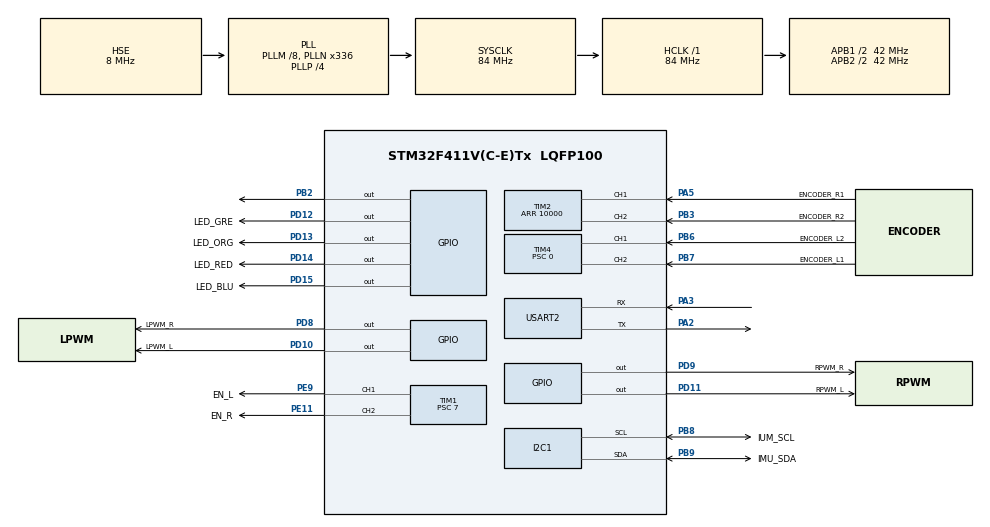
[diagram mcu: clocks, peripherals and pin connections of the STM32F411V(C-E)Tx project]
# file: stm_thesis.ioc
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Dma.I2C1_RX.1.Direction=DMA_PERIPH_TO_MEMORY
Dma.I2C1_RX.1.FIFOMode=DMA_FIFOMODE_DISABLE
Dma.I2C1_RX.1.Instance=DMA1_Stream0
Dma.I2C1_RX.1.MemDataAlignment=DMA_MDATAALIGN_BYTE
Dma.I2C1_RX.1.MemInc=DMA_MINC_ENABLE
Dma.I2C1_RX.1.Mode=DMA_CIRCULAR
Dma.I2C1_RX.1.PeriphDataAlignment=DMA_PDATAALIGN_BYTE
Dma.I2C1_RX.1.PeriphInc=DMA_PINC_DISABLE
Dma.I2C1_RX.1.Priority=DMA_PRIORITY_HIGH
Dma.Request0=USART2_RX
Dma.Request1=I2C1_RX
Dma.USART2_RX.0.Direction=DMA_PERIPH_TO_MEMORY
Dma.USART2_RX.0.FIFOMode=DMA_FIFOMODE_DISABLE
Dma.USART2_RX.0.Instance=DMA1_Stream5
Dma.USART2_RX.0.MemDataAlignment=DMA_MDATAALIGN_BYTE
Dma.USART2_RX.0.MemInc=DMA_MINC_ENABLE
Dma.USART2_RX.0.Mode=DMA_CIRCULAR
Dma.USART2_RX.0.PeriphDataAlignment=DMA_PDATAALIGN_BYTE
Dma.USART2_RX.0.PeriphInc=DMA_PINC_DISABLE
Dma.USART2_RX.0.Priority=DMA_PRIORITY_LOW
I2C1.I2C_Mode=I2C_Fast
Mcu.Family=STM32F4
Mcu.Name=STM32F411V(C-E)Tx
Mcu.Package=LQFP100
NVIC.DMA1_Stream0_IRQn=true\:0\:0\:false\:false\:true\:false\:true
NVIC.DMA1_Stream5_IRQn=true\:0\:0\:false\:false\:true\:false\:true
NVIC.PriorityGroup=NVIC_PRIORITYGROUP_4
NVIC.TIM1_BRK_TIM9_IRQn=true\:0\:0\:false\:false\:true\:true\:true
NVIC.TIM5_IRQn=true\:0\:0\:false\:false\:true\:true\:true
NVIC.USART2_IRQn=true\:0\:0\:false\:false\:true\:true\:true
PA0-WKUP.Mode=SYS_WakeUp0
PA0-WKUP.Signal=SYS_WKUP
PA13.Mode=Serial_Wire
PA13.Signal=SYS_JTMS-SWDIO
PA14.Mode=Serial_Wire
PA14.Signal=SYS_JTCK-SWCLK
PA2.Mode=Asynchronous
PA2.Signal=USART2_TX
PA3.Mode=Asynchronous
PA3.Signal=USART2_RX
PA5.GPIO_Label=ENCODER_R1
PA5.Signal=S_TIM2_CH1_ETR
PB2.Signal=GPIO_Output
PB3.GPIO_Label=ENCODER_R2
PB3.Signal=S_TIM2_CH2
PB6.GPIO_Label=ENCODER_L2
PB6.Signal=S_TIM4_CH1
PB7.GPIO_Label=ENCODER_L1
PB7.Signal=S_TIM4_CH2
PB8.GPIO_Label=IUM_SCL
PB8.Mode=I2C
PB8.Signal=I2C1_SCL
PB9.GPIO_Label=IMU_SDA
PB9.Mode=I2C
PB9.Signal=I2C1_SDA
PC14-OSC32_IN.Mode=LSE-External-Oscillator
PC14-OSC32_IN.Signal=RCC_OSC32_IN
PC15-OSC32_OUT.Mode=LSE-External-Oscillator
PC15-OSC32_OUT.Signal=RCC_OSC32_OUT
PD10.GPIO_Label=LPWM_L
PD10.GPIO_ModeDefaultOutputPP=GPIO_MODE_OUTPUT_PP
PD10.GPIO_PuPd=GPIO_NOPULL
PD10.GPIO_Speed=GPIO_SPEED_FREQ_VERY_HIGH
PD10.PinState=GPIO_PIN_SET
PD10.Signal=GPIO_Output
PD11.GPIO_Label=RPWM_L
PD11.GPIO_ModeDefaultOutputPP=GPIO_MODE_OUTPUT_PP
PD11.GPIO_PuPd=GPIO_NOPULL
PD11.GPIO_Speed=GPIO_SPEED_FREQ_VERY_HIGH
PD11.PinState=GPIO_PIN_SET
PD11.Signal=GPIO_Output
PD12.GPIO_Label=LED_GRE
PD12.GPIO_ModeDefaultOutputPP=GPIO_MODE_OUTPUT_PP
PD12.GPIO_PuPd=GPIO_PULLUP
PD12.GPIO_Speed=GPIO_SPEED_FREQ_VERY_HIGH
PD12.PinState=GPIO_PIN_RESET
PD12.Signal=GPIO_Output
PD13.GPIO_Label=LED_ORG
PD13.GPIO_ModeDefaultOutputPP=GPIO_MODE_OUTPUT_PP
PD13.GPIO_PuPd=GPIO_PULLUP
PD13.GPIO_Speed=GPIO_SPEED_FREQ_VERY_HIGH
PD13.PinState=GPIO_PIN_RESET
PD13.Signal=GPIO_Output
PD14.GPIO_Label=LED_RED
PD14.GPIO_ModeDefaultOutputPP=GPIO_MODE_OUTPUT_PP
PD14.GPIO_PuPd=GPIO_PULLUP
PD14.GPIO_Speed=GPIO_SPEED_FREQ_VERY_HIGH
PD14.PinState=GPIO_PIN_RESET
PD14.Signal=GPIO_Output
PD15.GPIO_Label=LED_BLU
PD15.GPIO_ModeDefaultOutputPP=GPIO_MODE_OUTPUT_PP
PD15.GPIO_PuPd=GPIO_PULLUP
PD15.GPIO_Speed=GPIO_SPEED_FREQ_VERY_HIGH
PD15.PinState=GPIO_PIN_RESET
PD15.Signal=GPIO_Output
PD8.GPIO_Label=LPWM_R
PD8.GPIO_ModeDefaultOutputPP=GPIO_MODE_OUTPUT_PP
PD8.GPIO_PuPd=GPIO_NOPULL
PD8.GPIO_Speed=GPIO_SPEED_FREQ_VERY_HIGH
PD8.PinState=GPIO_PIN_SET
PD8.Signal=GPIO_Output
PD9.GPIO_Label=RPWM_R
PD9.GPIO_ModeDefaultOutputPP=GPIO_MODE_OUTPUT_PP
PD9.GPIO_PuPd=GPIO_NOPULL
PD9.GPIO_Speed=GPIO_SPEED_FREQ_VERY_HIGH
PD9.PinState=GPIO_PIN_SET
PD9.Signal=GPIO_Output
PE11.GPIO_Label=EN_R
PE11.GPIO_ModeDefaultPP=GPIO_MODE_AF_PP
PE11.GPIO_PuPd=GPIO_NOPULL
PE11.GPIO_Speed=GPIO_SPEED_FREQ_VERY_HIGH
PE11.Signal=S_TIM1_CH2
PE9.GPIO_Label=EN_L
PE9.GPIO_ModeDefaultPP=GPIO_MODE_AF_PP
PE9.GPIO_PuPd=GPIO_NOPULL
PE9.GPIO_Speed=GPIO_SPEED_FREQ_VERY_HIGH
PE9.Signal=S_TIM1_CH1
PH0\ -\ OSC_IN.Mode=HSE-External-Oscillator
PH0\ -\ OSC_IN.Signal=RCC_OSC_IN
PH1\ -\ OSC_OUT.Mode=HSE-External-Oscillator
PH1\ -\ OSC_OUT.Signal=RCC_OSC_OUT
ProjectManager.HeapSize=0x200
ProjectManager.StackSize=0x400
ProjectManager.TargetToolchain=STM32CubeIDE
RCC.48MHZClocksFreq_Value=84000000
RCC.AHBFreq_Value=84000000
RCC.APB1CLKDivider=RCC_HCLK_DIV2
RCC.APB1Freq_Value=42000000
RCC.APB1TimFreq_Value=84000000
RCC.APB2CLKDivider=RCC_HCLK_DIV2
RCC.APB2Freq_Value=42000000
RCC.APB2TimFreq_Value=84000000
RCC.CortexFreq_Value=84000000
RCC.HCLKFreq_Value=84000000
RCC.HSE_VALUE=8000000
RCC.HSI_VALUE=16000000
RCC.PLLM=8
RCC.PLLN=336
RCC.PLLP=RCC_PLLP_DIV4
RCC.PLLSourceVirtual=RCC_PLLSOURCE_HSE
RCC.SYSCLKFreq_VALUE=84000000
RCC.SYSCLKSource=RCC_SYSCLKSOURCE_PLLCLK
RCC.VCOOutputFreq_Value=336000000
SH.S_TIM1_CH1.0=TIM1_CH1,PWM Generation1 CH1
SH.S_TIM1_CH2.0=TIM1_CH2,PWM Generation2 CH2
SH.S_TIM2_CH1_ETR.0=TIM2_CH1,Encoder_Interface
SH.S_TIM2_CH2.0=TIM2_CH2,Encoder_Interface
SH.S_TIM4_CH1.0=TIM4_CH1,Encoder_Interface
SH.S_TIM4_CH2.0=TIM4_CH2,Encoder_Interface
TIM1.Channel-PWM\ Generation1\ CH1=TIM_CHANNEL_1
TIM1.Channel-PWM\ Generation2\ CH2=TIM_CHANNEL_2
TIM1.Period=599
TIM1.Prescaler=7
TIM2.AutoReloadPreload=TIM_AUTORELOAD_PRELOAD_DISABLE
TIM2.CounterMode=TIM_COUNTERMODE_UP
TIM2.EncoderMode=TIM_ENCODERMODE_TI12
TIM2.IC1Filter=10
TIM2.IC2Filter=10
TIM2.Period=10000
TIM4.AutoReloadPreload=TIM_AUTORELOAD_PRELOAD_ENABLE
TIM4.CounterMode=TIM_COUNTERMODE_UP
TIM4.EncoderMode=TIM_ENCODERMODE_TI12
TIM4.IC1Filter=10
TIM4.IC2Filter=10
TIM4.Period=10000
TIM4.Prescaler=0
TIM5.Period=49
TIM5.Prescaler=8400
TIM9.Period=999
TIM9.Prescaler=8400
USART2.OverSampling=UART_OVERSAMPLING_16
USART2.VirtualMode=VM_ASYNC
VP_TIM1_VS_ClockSourceINT.Mode=Internal
VP_TIM5_VS_ClockSourceINT.Mode=Internal
VP_TIM9_VS_ClockSourceINT.Mode=Internal
board=custom

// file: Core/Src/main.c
/* USER CODE BEGIN Header */
/**
  ******************************************************************************
  * @file           : main.c
  * @brief          : Main program body
  ******************************************************************************
  * @attention
  *
  * <h2><center>&copy; Copyright (c) 2020 STMicroelectronics.
  * All rights reserved.</center></h2>
  *
  * This software component is licensed by ST under BSD 3-Clause license,
  * the "License"; You may not use this file except in compliance with the
  * License. You may obtain a copy of the License at:
  *                        opensource.org/licenses/BSD-3-Clause
  *
  ******************************************************************************
  */
/* USER CODE END Header */
#include "main.h"
#include "dma.h"
#include "i2c.h"
#include "tim.h"
#include "usart.h"
#include "gpio.h"

/* USER CODE BEGIN Includes */
#include "math.h"
//#include <stdint.h>
#include "inttypes.h"

//#include "pid_controller.h"
//#include "../lib/IMU_MPU6050.h"
#include "../lib/IMU_MPU9250.h"
#include "../lib/motor.h"
#include "../lib/pid_controller.h"
#include "../lib/uart2pi.h"
//#include "pid_controller.h"

/* USER CODE END Includes */

/* USER CODE BEGIN PV */

/* PID Controller*/

float testt[10], test_abc;

int state_uart;
uint16_t time_error=0;
uint8_t check_error = 0;
struct data_mpu9250 ss = {};

/* USER CODE END PV */

void SystemClock_Config(void);

int main(void)
{

  /* MCU Configuration--------------------------------------------------------*/

  /* Reset of all peripherals, Initializes the Flash interface and the Systick. */
  HAL_Init();

  /* Configure the system clock */
  SystemClock_Config();

  /* Initialize all configured peripherals */
  MX_GPIO_Init();
  MX_DMA_Init();
  MX_TIM1_Init();
  MX_TIM2_Init();
  MX_TIM4_Init();
  MX_TIM9_Init();
  MX_USART2_UART_Init();
  MX_TIM5_Init();
  MX_I2C1_Init();

  /* USER CODE BEGIN 2 */
  HAL_Delay(1000);
  MPU9250_Reset();
  MPU9250_INIT();
  initMPU9250();
  initAK8963();

  HAL_TIM_PWM_Start(&htim1, TIM_CHANNEL_1);
  HAL_TIM_PWM_Start(&htim1, TIM_CHANNEL_2);
  HAL_TIM_Encoder_Start(&htim4, TIM_CHANNEL_ALL);
  HAL_TIM_Encoder_Start(&htim2, TIM_CHANNEL_ALL);
  HAL_UART_Receive_DMA(&huart2 ,&receivebuffer[0], 9);
  HAL_TIM_Base_Start_IT(&htim9);
  HAL_TIM_Base_Start_IT(&htim5);

  /* USER CODE END 2 */

  /* Infinite loop */
  while (1)
  {

  }
}

void SystemClock_Config(void)
{
  RCC_OscInitTypeDef RCC_OscInitStruct = {0};
  RCC_ClkInitTypeDef RCC_ClkInitStruct = {0};

  /** Configure the main internal regulator output voltage
  */
  __HAL_RCC_PWR_CLK_ENABLE();
  __HAL_PWR_VOLTAGESCALING_CONFIG(PWR_REGULATOR_VOLTAGE_SCALE1);
  /** Initializes the RCC Oscillators according to the specified parameters
  * in the RCC_OscInitTypeDef structure.
  */
  RCC_OscInitStruct.OscillatorType = RCC_OSCILLATORTYPE_HSE;
  RCC_OscInitStruct.HSEState = RCC_HSE_ON;
  RCC_OscInitStruct.PLL.PLLState = RCC_PLL_ON;
  RCC_OscInitStruct.PLL.PLLSource = RCC_PLLSOURCE_HSE;
  RCC_OscInitStruct.PLL.PLLM = 8;
  RCC_OscInitStruct.PLL.PLLN = 336;
  RCC_OscInitStruct.PLL.PLLP = RCC_PLLP_DIV4;
  RCC_OscInitStruct.PLL.PLLQ = 4;
  if (HAL_RCC_OscConfig(&RCC_OscInitStruct) != HAL_OK)
  {
    Error_Handler();
  }
  /** Initializes the CPU, AHB and APB buses clocks
  */
  RCC_ClkInitStruct.ClockType = RCC_CLOCKTYPE_HCLK|RCC_CLOCKTYPE_SYSCLK
                              |RCC_CLOCKTYPE_PCLK1|RCC_CLOCKTYPE_PCLK2;
  RCC_ClkInitStruct.SYSCLKSource = RCC_SYSCLKSOURCE_PLLCLK;
  RCC_ClkInitStruct.AHBCLKDivider = RCC_SYSCLK_DIV1;
  RCC_ClkInitStruct.APB1CLKDivider = RCC_HCLK_DIV2;
  RCC_ClkInitStruct.APB2CLKDivider = RCC_HCLK_DIV2;

  if (HAL_RCC_ClockConfig(&RCC_ClkInitStruct, FLASH_LATENCY_2) != HAL_OK)
  {
    Error_Handler();
  }
}

/* USER CODE BEGIN 4 */
void HAL_TIM_PeriodElapsedCallback(TIM_HandleTypeDef *htim){
//	delay 5ms
	if(htim->Instance==htim5.Instance){
		testt[7] = HAL_GetTick() - testt[8];
		testt[8] = HAL_GetTick();

//		IMU9250_READ_DMA();

		float *duty_cycles;

		Get_Velocity();

//		enc[0] = 12;
//		enc[1] = 10;
		enc_ser[0] += enc[0];
		enc_ser[1] += enc[1];
		enc_test[0] += enc[0];
		enc_test[1] += enc[1];

		duty_cycles = PID_Calculate(_velo, _motor_dir, &enc[0]);

//		keep safe when error serial
		if (check_error == 1){
			time_error = 0;
		}

		if(time_error <= 1000){
			time_error += 1;
			Control_Motor(0,0,0);
			if((time_error % 20) == 0){
				HAL_GPIO_TogglePin(GPIOD, LED_ORG_Pin);
			}
		}
		else{
			HAL_GPIO_WritePin(GPIOD, LED_ORG_Pin, GPIO_PIN_SET);
			Control_Motor(*(duty_cycles), *(duty_cycles+1), *(duty_cycles+2));
		}

//		struct data_mpu9250 ss = ReadMPU9250();
		ss = ReadMPU9250();
	}
//	delay 100ms
	else if(htim->Instance==htim9.Instance){
		testt[5] = HAL_GetTick() - testt[6];
		testt[6] = HAL_GetTick();
		test_abc++;
//		state_uart=HAL_UART_GetState(&huart2);
// 		ss = sensor
		UartTransmit(enc_ser[0], enc_ser[1], ss, enc[2]);
		enc_ser[0] = 0;
		enc_ser[1] = 0;
	}
}

/* USER CODE END 4 */

void Error_Handler(void)
{
}

/************************ (C) COPYRIGHT STMicroelectronics *****END OF FILE****/
